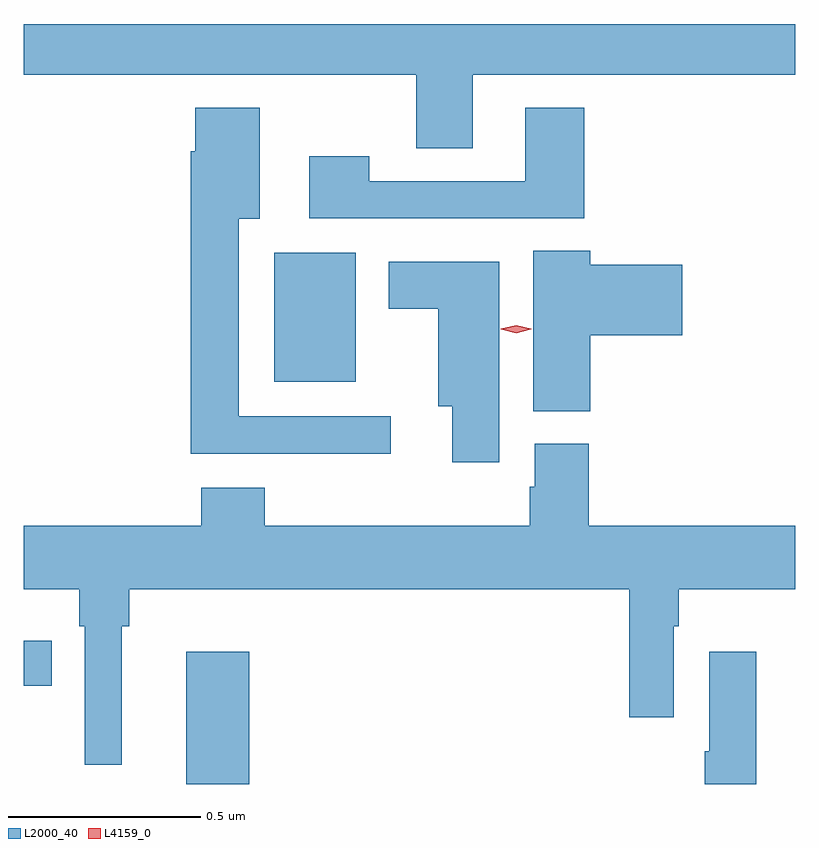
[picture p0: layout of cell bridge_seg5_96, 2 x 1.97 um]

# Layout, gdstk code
import gdstk
lib = gdstk.Library(unit=1e-6, precision=1e-09)
def R(c, l, rs):  # rectangles x0, y0, x1, y1
    for r in rs: c.add(gdstk.rectangle(r[:2], r[2:], *l))
def P(c, l, *ps):  # polygons
    for p in ps: c.add(gdstk.Polygon(p, *l))
L2000_40 = (2000, 40)
L4159_0 = (4159, 0)

bridge_seg5_96 = lib.new_cell('bridge_seg5_96')
R(bridge_seg5_96, L2000_40, [(502.112,913.531,502.276,913.873), (501.691,913.786,501.764,913.902), (502.34,914.573,502.552,914.908)])
P(bridge_seg5_96, L2000_40, [(502.855,915.368),(503.691,915.368),(503.691,915.5),(501.691,915.5),(501.691,915.368),(502.708,915.368),(502.708,915.178),(502.855,915.178)],
  [(502.642,914.484),(502.249,914.484),(502.249,914.996),(502.303,914.996),(502.303,915.283),(502.136,915.283),(502.136,915.17),(502.124,915.17),(502.124,914.387),(502.642,914.387)],
  [(503.144,915.283),(502.991,915.283),(502.991,915.093),(502.587,915.093),(502.587,915.157),(502.431,915.157),(502.431,914.997),(503.144,914.997)],
  [(503.159,914.693),(503.398,914.693),(503.398,914.876),(503.159,914.876),(503.159,914.912),(503.012,914.912),(503.012,914.497),(503.159,914.497)],
  [(502.924,914.884),(502.637,914.884),(502.637,914.762),(502.766,914.762),(502.766,914.51),(502.802,914.51),(502.802,914.364),(502.924,914.364)],
  [(501.691,914.036),(501.836,914.036),(501.836,913.94),(501.849,913.94),(501.849,913.581),(501.946,913.581),(501.946,913.94),(501.965,913.94),(501.965,914.036),(503.26,914.036),(503.26,913.704),(503.376,913.704),(503.376,913.94),(503.389,913.94),(503.389,914.036),(503.691,914.036),(503.691,914.2),(503.156,914.2),(503.156,914.412),(503.015,914.412),(503.015,914.301),(503.003,914.301),(503.003,914.2),(502.316,914.2),(502.316,914.299),(502.151,914.299),(502.151,914.2),(501.691,914.2)],
  [(503.59,913.873),(503.468,913.873),(503.468,913.616),(503.456,913.616),(503.456,913.531),(503.59,913.531)])
P(bridge_seg5_96, L4159_0, [(502.967,914.699),(502.928,914.709),(502.928,914.709),(502.928,914.71),(502.967,914.719),(503.006,914.71),(503.006,914.709),(503.006,914.709)])

lib.write_gds('bridge_seg5_96.gds')
